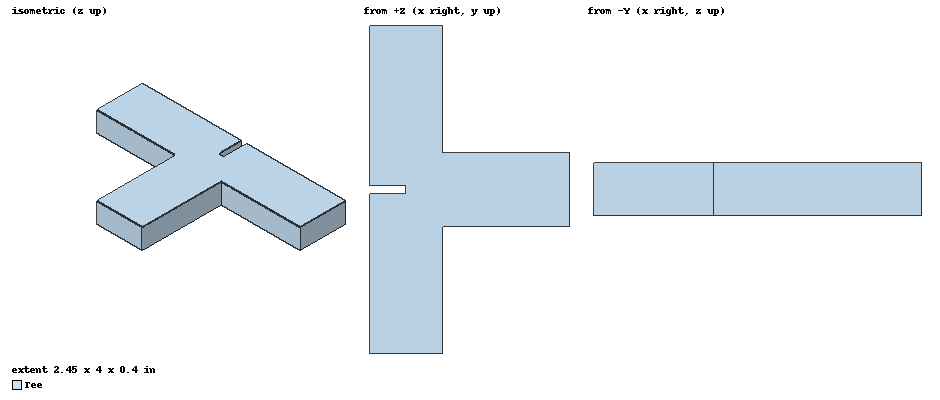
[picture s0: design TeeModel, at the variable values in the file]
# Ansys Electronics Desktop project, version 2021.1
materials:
  vacuum: permittivity=1

design TeeModel (HFSS, DrivenModal, model units in)
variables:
  offset = 0in
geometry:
  Tee [vacuum] = box(corner=(0in, -0.45in, 0in), size=(2in, 0.9in, 0.4in))
  Tee_1 = Tee.duplicate_around_axis(axis=Z, angle=90deg, total=2)
  Tee_2 = Tee.duplicate_around_axis(axis=Z, angle=-90deg, total=2)
  Tee.unite(Tee_2, Tee_1)
  sepyum = box(corner=(-0.45in, offset-0.05in, 0in), size=(0.45in, 0.1in, 0.4in))
  Tee.subtract(sepyum)
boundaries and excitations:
  P1: Wave Port Faces=Tee.face(+x) NumModes=1 Modes{Mode1{IntLine{middle of Tee.edge(5 of 12) -> middle of Tee.edge(1 of 12)} CharImp=Zpi}}
  P2: Wave Port Faces=Tee.face(6 of 6) NumModes=1 Modes{Mode1{IntLine{middle of Tee.edge(5 of 12) -> middle of Tee.edge(1 of 12)} CharImp=Zpi}}
  P3: Wave Port Faces=Tee.face(6 of 6) NumModes=1 Modes{Mode1{IntLine{middle of Tee.edge(5 of 12) -> middle of Tee.edge(1 of 12)} CharImp=Zpi}}
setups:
  Setup1: HfssDriven Frequency=10GHz MaxDeltaS=0.02 MaximumPasses=6 MinimumPasses=1 MinimumConvergedPasses=1 PercentRefinement=30 BasisOrder=1 PortAccuracy=2
    sweep Sweep1: 8GHz to 10GHz, 201 points; Type=Interpolating InterpTolerance=0.5 InterpMaxSolns=250 InterpUsePortImped=false PassivityErrorTolerance=0.0001
  Setup2: HfssDriven Frequency=5GHz MaxDeltaS=0.02 MaximumPasses=6 MinimumPasses=1 MinimumConvergedPasses=1 PercentRefinement=30 BasisOrder=1 PortAccuracy=2
    sweep Sweep: 2.5GHz to 7.5GHz step 0.025GHz; Type=Interpolating InterpTolerance=0.5 InterpMaxSolns=250 InterpUsePortImped=false PassivityErrorTolerance=0.0001
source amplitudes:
  P1:1: 1W 0deg
  P2:1, P3:1: 0W 0deg
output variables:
  Power11 = mag(S(P1,P1))*mag(S(P1,P1))
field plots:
  Vector_Jsurf1: Jsurf over Tee.face(+z) on Setup1 : LastAdaptive at Freq=10GHz Phase=0deg
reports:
  S Parameter Plot 1: dB(S(P1,P1)), dB(S(P2,P1)), dB(S(P3,P1)) vs Freq on Setup1 : Sweep1
  S Parameter Plot 2: dB(S(P1,P1)), dB(S(P2,P1)), dB(S(P3,P1)) vs Freq on Setup1 : Sweep1
  S Parameter Table 1: dB(S(P1,P1)), dB(S(P2,P1)), dB(S(P3,P1)) vs Freq on Setup1 : Sweep1
  S Parameter Chart 1: S(P1,P1) on Setup1 : Sweep1 [Freq=all]; markers m1 at 9.03GHz
